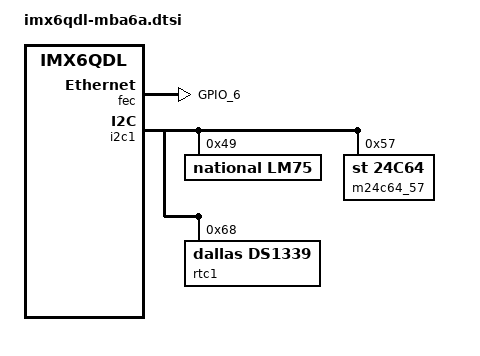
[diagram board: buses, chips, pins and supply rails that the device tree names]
// SPDX-License-Identifier: GPL-2.0-or-later
/*
 * Copyright 2013 Sascha Hauer, Pengutronix
 *
 * Copyright 2013-2017 TQ Systems GmbH
 * Author: Markus Niebel <Markus.Niebel@tq-group.com>
 */

&fec {
	pinctrl-names = "default";
	pinctrl-0 = <&pinctrl_enet>, <&pinctrl_enet_fix>;
	interrupts-extended = <&gpio1 6 IRQ_TYPE_LEVEL_HIGH>,
			      <&intc 0 119 IRQ_TYPE_LEVEL_HIGH>;
};

&i2c1 {
	lm75: temperature-sensor@49 {
		compatible = "national,lm75";
		reg = <0x49>;
	};

	m24c64_57: eeprom@57 {
		compatible = "st,24c64", "atmel,24c64";
		reg = <0x57>;
		pagesize = <32>;
	};

	rtc1: rtc@68 {
		compatible = "dallas,ds1339";
		reg = <0x68>;
	};
};

&iomuxc {
	pinctrl_enet_fix: enetfixgrp {
		fsl,pins = <
			/* ENET ping patch */
			MX6QDL_PAD_GPIO_6__ENET_IRQ 0x000b1
		>;
	};
};
